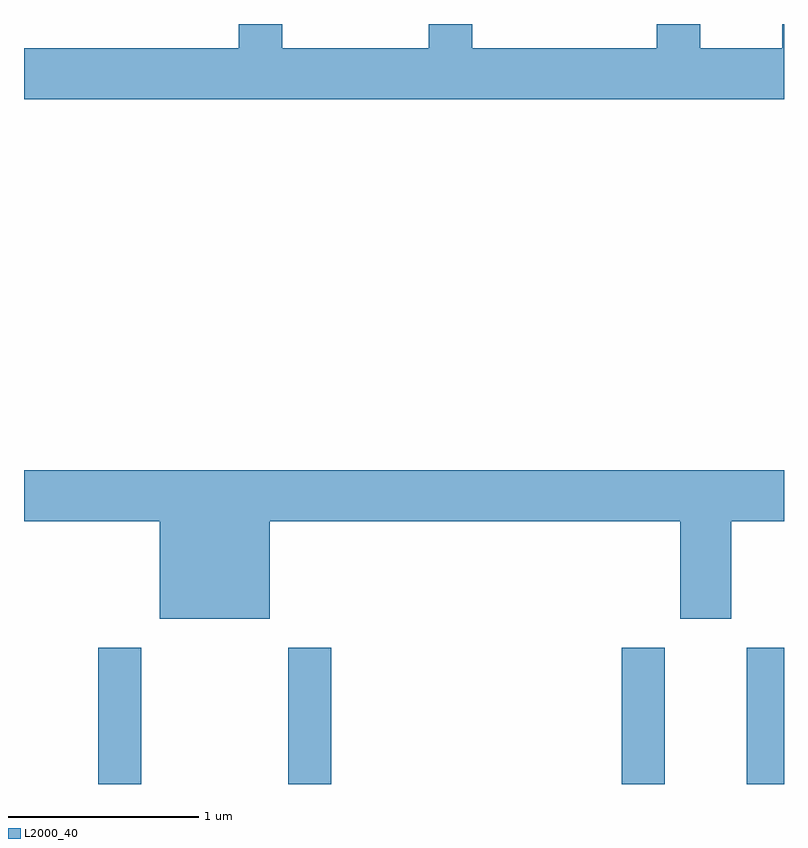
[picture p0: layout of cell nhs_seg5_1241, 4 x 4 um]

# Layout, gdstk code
import gdstk
lib = gdstk.Library(unit=1e-6, precision=1e-09)
def R(c, l, rs):  # rectangles x0, y0, x1, y1
    for r in rs: c.add(gdstk.rectangle(r[:2], r[2:], *l))
def P(c, l, *ps):  # polygons
    for p in ps: c.add(gdstk.Polygon(p, *l))
L2000_40 = (2000, 40)

nhs_seg5_1241 = lib.new_cell('nhs_seg5_1241')
R(nhs_seg5_1241, L2000_40, [(222.001,1462.072,222.229,1462.789), (223.001,1462.072,223.229,1462.789), (224.756,1462.072,224.984,1462.789), (225.416,1462.072,225.611,1462.789)])
P(nhs_seg5_1241, L2000_40, [(225.611,1466.072),(225.601,1466.072),(225.601,1465.944),(225.169,1465.944),(225.169,1466.072),(224.941,1466.072),(224.941,1465.944),(223.969,1465.944),(223.969,1466.072),(223.741,1466.072),(223.741,1465.944),(222.969,1465.944),(222.969,1466.072),(222.741,1466.072),(222.741,1465.944),(221.611,1465.944),(221.611,1465.676),(225.611,1465.676)],
  [(221.611,1463.456),(222.326,1463.456),(222.326,1462.941),(222.904,1462.941),(222.904,1463.456),(225.066,1463.456),(225.066,1462.941),(225.334,1462.941),(225.334,1463.456),(225.611,1463.456),(225.611,1463.724),(221.611,1463.724)])

lib.write_gds('nhs_seg5_1241.gds')
